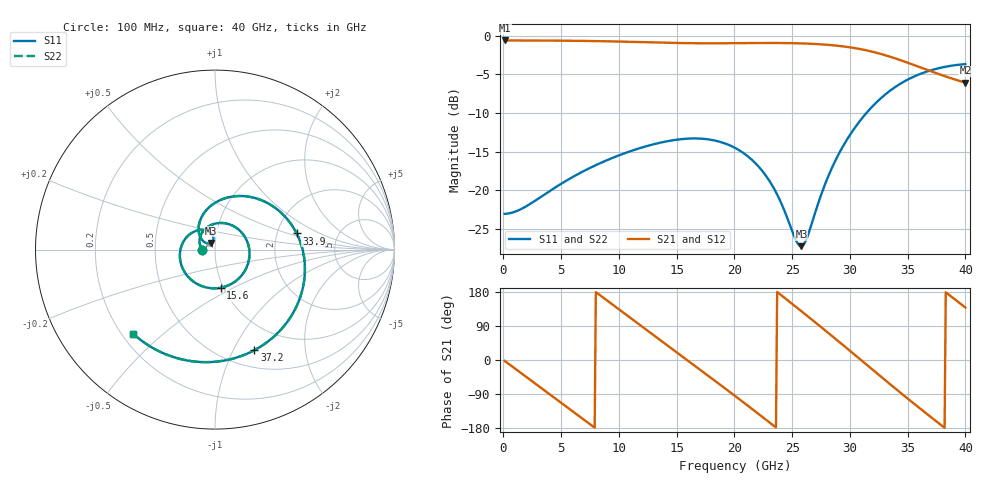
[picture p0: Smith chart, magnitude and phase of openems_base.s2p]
! C_s8_nfp: L1→L8, antipad Ø0.9, non-functional pads kept
! stackup: 8-layer 1.6 mm FR-4 (generic)
! ports: 1, 2
! openEMS 0.37.0, staircase, base mesh (dfine 0.035 mm), 637065 cells
# Hz S RI R 50
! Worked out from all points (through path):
!   400 points, 100 MHz to 40 GHz, reference 50 ohm
!   highest |S21| = -0.64 dB at 100 MHz (marker M1); lowest = -6.1 dB at 40 GHz (marker M2)
!   group delay of S21, straight-line fit = 65.4 ps
!   lowest |S11| = -27.2 dB at 25.8 GHz (marker M3), VSWR 1.09, Z = 47.7 + j3.58 ohm
!   |S11| at or under -10 dB: start of sweep to 31.43 GHz
!   |S22| runs from -27.2 to -3.7 dB; largest |S21 - S12| = 2.6e-05
!   S11 on the Smith chart (normalised r, x): 100 MHz: 0.87, +0.00; 15.6 GHz: 0.97, -0.43; 33.9 GHz: 2.57, +0.59; 37.2 GHz: 0.69, -1.21; 40 GHz: 0.24, -0.40
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1e8  -0.0705 0.00042  0.9286 -0.0366  0.9286 -0.0366  -0.0705 0.000417
1.7e9  -0.0762 0.0101  0.7281 -0.5769  0.7281 -0.5768  -0.0762 0.0101
3.6e9  -0.0861 0.0389  0.1403 -0.9171  0.1403 -0.9171  -0.0861 0.0389
5.1e9  -0.0807 0.0768  -0.3946 -0.838  -0.3946 -0.838  -0.0807 0.0768
6.8e9  -0.0445 0.1237  -0.8279 -0.4093  -0.8279 -0.4093  -0.0445 0.1237
8.6e9  0.0343 0.1485  -0.8899 0.2299  -0.8899 0.2299  0.0343 0.1485
1.06e10  0.142 0.102  -0.4585 0.7888  -0.4585 0.7888  0.142 0.102
1.34e10  0.1772 -0.0965  0.4942 0.7533  0.4942 0.7533  0.1772 -0.0965
1.56e10  0.0317 -0.2124  0.8871 0.1077  0.8871 0.1077  0.0317 -0.2124
1.76e10  -0.136 -0.1653  0.6971 -0.5548  0.6971 -0.5548  -0.136 -0.1653
2.01e10  -0.1858 0.0231  -0.0921 -0.8878  -0.0921 -0.8878  -0.1858 0.0231
2.31e10  -0.0434 0.1042  -0.8699 -0.2126  -0.8699 -0.2126  -0.0434 0.1042
2.58e10  -0.0222 0.0375  -0.5573 0.6933  -0.5573 0.6933  -0.0222 0.0375
2.67e10  -0.0489 0.0366  -0.2551 0.8465  -0.2551 0.8465  -0.0489 0.0366
2.84e10  -0.0911 0.1029  0.3714 0.7833  0.3714 0.7833  -0.0911 0.1029
3.03e10  -0.022 0.2449  0.797 0.24  0.797 0.24  -0.022 0.2449
3.17e10  0.1471 0.2986  0.7514 -0.2562  0.7514 -0.2562  0.1471 0.2986
3.34e10  0.4 0.1727  0.3452 -0.6465  0.3452 -0.6465  0.4 0.1727
3.39e10  0.4547 0.0903  0.1911 -0.6868  0.1911 -0.6868  0.4547 0.0903
3.55e10  0.4793 -0.2516  -0.2636 -0.5908  -0.2636 -0.5908  0.4793 -0.2516
3.72e10  0.2195 -0.5605  -0.527 -0.2444  -0.527 -0.2444  0.2195 -0.5605
4e10  -0.4547 -0.4699  -0.371 0.3294  -0.371 0.3294  -0.4547 -0.4699
